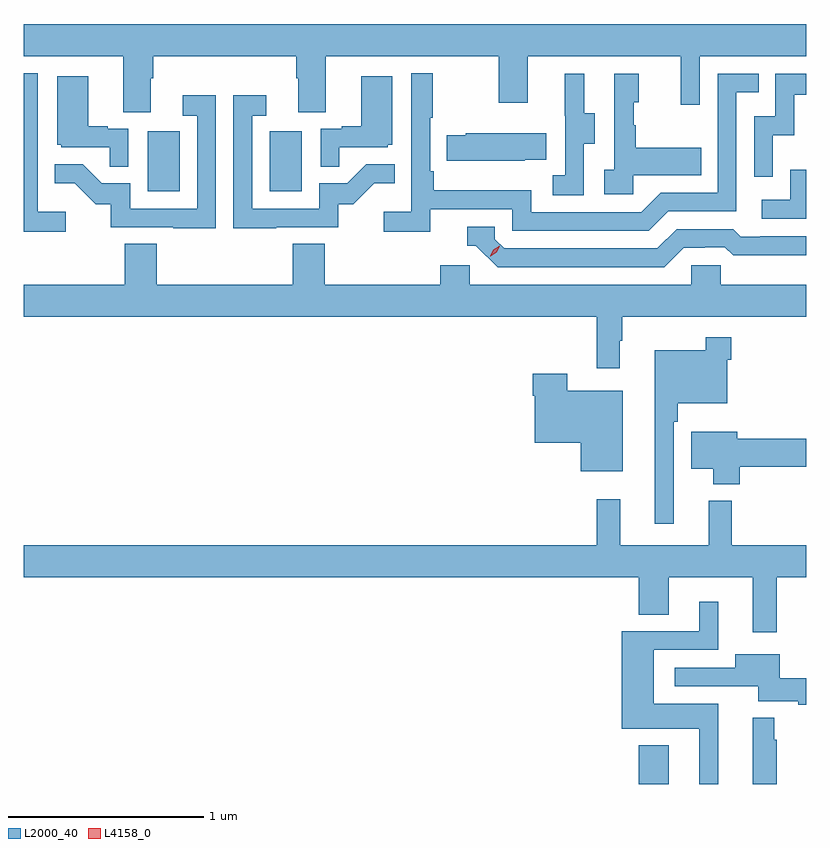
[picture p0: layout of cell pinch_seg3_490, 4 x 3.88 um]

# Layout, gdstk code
import gdstk
lib = gdstk.Library(unit=1e-6, precision=1e-09)
def R(c, l, rs):  # rectangles x0, y0, x1, y1
    for r in rs: c.add(gdstk.rectangle(r[:2], r[2:], *l))
def P(c, l, *ps):  # polygons
    for p in ps: c.add(gdstk.Polygon(p, *l))
L2000_40 = (2000, 40)
L4158_0 = (4158, 0)

pinch_seg3_490 = lib.new_cell('pinch_seg3_490')
R(pinch_seg3_490, L2000_40, [(972.845,669.224,972.997,669.421), (970.334,672.252,970.498,672.559), (970.958,672.252,971.122,672.559)])
P(pinch_seg3_490, L2000_40, [(970.351,672.832),(970.364,672.832),(970.364,672.944),(971.093,672.944),(971.093,672.832),(971.105,672.832),(971.105,672.658),(971.245,672.658),(971.245,672.944),(972.13,672.944),(972.13,672.705),(972.277,672.705),(972.277,672.944),(973.058,672.944),(973.058,672.696),(973.155,672.696),(973.155,672.944),(973.701,672.944),(973.701,673.108),(969.701,673.108),(969.701,672.944),(970.211,672.944),(970.211,672.658),(970.351,672.658)],
  [(969.916,672.148),(969.774,672.148),(969.774,672.856),(969.701,672.856),(969.701,672.046),(969.916,672.046)],
  [(971.78,672.162),(972.198,672.162),(972.198,672.051),(972.895,672.051),(972.994,672.15),(973.344,672.15),(973.344,672.759),(973.457,672.759),(973.457,672.855),(973.248,672.855),(973.248,672.246),(972.957,672.246),(972.858,672.147),(972.294,672.147),(972.294,672.259),(971.798,672.259),(971.798,672.355),(971.778,672.355),(971.778,672.628),(971.791,672.628),(971.791,672.856),(971.682,672.856),(971.682,672.148),(971.541,672.148),(971.541,672.046),(971.78,672.046)],
  [(973.53,672.539),(973.64,672.539),(973.64,672.747),(973.701,672.747),(973.701,672.855),(973.542,672.855),(973.542,672.636),(973.434,672.636),(973.434,672.327),(973.53,672.327)],
  [(972.816,672.335),(973.163,672.335),(973.163,672.475),(972.829,672.475),(972.829,672.59),(972.819,672.59),(972.819,672.708),(972.844,672.708),(972.844,672.853),(972.72,672.853),(972.72,672.362),(972.669,672.362),(972.669,672.237),(972.816,672.237)],
  [(972.564,672.496),(972.619,672.496),(972.619,672.651),(972.565,672.651),(972.565,672.853),(972.467,672.853),(972.467,672.639),(972.468,672.639),(972.468,672.335),(972.405,672.335),(972.405,672.232),(972.564,672.232)],
  [(970.236,672.573),(970.13,672.573),(970.13,672.586),(970.03,672.586),(970.03,672.841),(969.872,672.841),(969.872,672.492),(969.894,672.492),(969.894,672.477),(970.141,672.477),(970.141,672.379),(970.236,672.379)],
  [(971.315,672.477),(971.562,672.477),(971.562,672.492),(971.584,672.492),(971.584,672.841),(971.426,672.841),(971.426,672.586),(971.327,672.586),(971.327,672.573),(971.22,672.573),(971.22,672.379),(971.315,672.379)],
  [(970.683,672.745),(970.515,672.745),(970.515,672.639),(970.587,672.639),(970.587,672.165),(970.245,672.165),(970.245,672.294),(970.101,672.294),(970.003,672.392),(969.859,672.392),(969.859,672.293),(969.963,672.293),(970.07,672.186),(970.147,672.186),(970.147,672.069),(970.465,672.069),(970.465,672.064),(970.683,672.064)],
  [(970.991,672.069),(971.31,672.069),(971.31,672.186),(971.386,672.186),(971.493,672.293),(971.597,672.293),(971.597,672.392),(971.453,672.392),(971.355,672.294),(971.211,672.294),(971.211,672.165),(970.869,672.165),(970.869,672.639),(970.942,672.639),(970.942,672.745),(970.773,672.745),(970.773,672.064),(970.991,672.064)],
  [(972.263,672.413),(972.371,672.413),(972.371,672.55),(971.961,672.55),(971.961,672.54),(971.863,672.54),(971.863,672.41),(972.263,672.41)],
  [(973.701,672.364),(973.62,672.364),(973.62,672.21),(973.473,672.21),(973.473,672.114),(973.701,672.114)],
  [(973.075,671.964),(973.182,671.964),(973.182,671.967),(973.285,671.967),(973.327,671.925),(973.56,671.925),(973.56,671.927),(973.701,671.927),(973.701,672.024),(973.465,672.024),(973.465,672.021),(973.366,672.021),(973.327,672.06),(973.038,672.06),(972.939,671.961),(972.156,671.961),(972.108,672.009),(972.108,672.072),(971.969,672.072),(971.969,671.976),(972.012,671.976),(972.123,671.865),(972.976,671.865)],
  [(972.748,671.489),(972.76,671.489),(972.76,671.612),(973.701,671.612),(973.701,671.776),(973.263,671.776),(973.263,671.874),(973.113,671.874),(973.113,671.776),(971.982,671.776),(971.982,671.874),(971.831,671.874),(971.831,671.776),(971.24,671.776),(971.24,671.984),(971.075,671.984),(971.075,671.776),(970.382,671.776),(970.382,671.984),(970.217,671.984),(970.217,671.776),(969.701,671.776),(969.701,671.612),(972.631,671.612),(972.631,671.349),(972.748,671.349)],
  [(973.023,671.075),(973.043,671.075),(973.043,671.171),(973.296,671.171),(973.296,671.393),(973.316,671.393),(973.316,671.506),(973.188,671.506),(973.188,671.44),(972.926,671.44),(972.926,670.554),(973.023,670.554)],
  [(972.763,671.233),(972.48,671.233),(972.48,671.32),(972.302,671.32),(972.302,671.207),(972.314,671.207),(972.314,670.967),(972.548,670.967),(972.548,670.823),(972.763,670.823)],
  [(973.361,670.846),(973.701,670.846),(973.701,670.988),(973.348,670.988),(973.348,671.023),(973.112,671.023),(973.112,670.835),(973.226,670.835),(973.226,670.757),(973.361,670.757)],
  [(973.427,669.999),(973.549,669.999),(973.549,670.28),(973.701,670.28),(973.701,670.444),(973.319,670.444),(973.319,670.672),(973.202,670.672),(973.202,670.444),(972.749,670.444),(972.749,670.678),(972.631,670.678),(972.631,670.444),(969.701,670.444),(969.701,670.28),(972.845,670.28),(972.845,670.09),(972.997,670.09),(972.997,670.28),(973.427,670.28)],
  [(973.252,669.634),(972.922,669.634),(972.922,669.909),(973.252,669.909),(973.252,670.156),(973.154,670.156),(973.154,670.005),(972.758,670.005),(972.758,669.506),(973.154,669.506),(973.154,669.224),(973.252,669.224)],
  [(973.701,669.764),(973.564,669.764),(973.564,669.886),(973.337,669.886),(973.337,669.819),(973.029,669.819),(973.029,669.723),(973.454,669.723),(973.454,669.648),(973.66,669.648),(973.66,669.628),(973.701,669.628)],
  [(973.549,669.449),(973.538,669.449),(973.538,669.562),(973.427,669.562),(973.427,669.224),(973.549,669.224)])
P(pinch_seg3_490, L4158_0, [(972.086,671.921),(972.086,671.922),(972.102,671.954),(972.133,671.974),(972.133,671.974),(972.133,671.974),(972.118,671.941),(972.087,671.921)])

lib.write_gds('pinch_seg3_490.gds')
